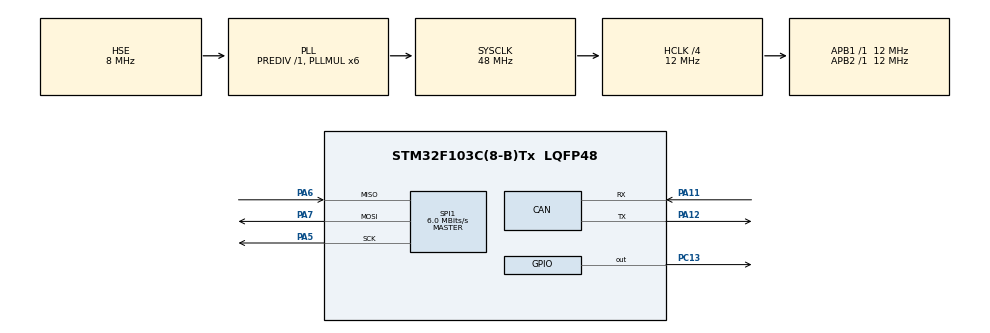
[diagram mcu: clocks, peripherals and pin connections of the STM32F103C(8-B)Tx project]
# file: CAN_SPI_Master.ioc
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CAN.CalculateTimeBit=4000
CAN.CalculateTimeQuantum=1333.3333333333333
Mcu.Family=STM32F1
Mcu.Name=STM32F103C(8-B)Tx
Mcu.Package=LQFP48
NVIC.PriorityGroup=NVIC_PRIORITYGROUP_4
PA11.Mode=Master
PA11.Signal=CAN_RX
PA12.Mode=Master
PA12.Signal=CAN_TX
PA5.Mode=Full_Duplex_Master
PA5.Signal=SPI1_SCK
PA6.Mode=Full_Duplex_Master
PA6.Signal=SPI1_MISO
PA7.Mode=Full_Duplex_Master
PA7.Signal=SPI1_MOSI
PC13-TAMPER-RTC.Signal=GPIO_Output
PD0-OSC_IN.Mode=HSE-External-Oscillator
PD0-OSC_IN.Signal=RCC_OSC_IN
PD1-OSC_OUT.Mode=HSE-External-Oscillator
PD1-OSC_OUT.Signal=RCC_OSC_OUT
ProjectManager.HeapSize=0x200
ProjectManager.StackSize=0x400
ProjectManager.TargetToolchain=SW4STM32
RCC.AHBCLKDivider=RCC_SYSCLK_DIV4
RCC.AHBFreq_Value=12000000
RCC.APB1Freq_Value=12000000
RCC.APB1TimFreq_Value=12000000
RCC.APB2Freq_Value=12000000
RCC.APB2TimFreq_Value=12000000
RCC.HCLKFreq_Value=12000000
RCC.PLLMUL=RCC_PLL_MUL6
RCC.PLLSourceVirtual=RCC_PLLSOURCE_HSE
RCC.SYSCLKFreq_VALUE=48000000
RCC.SYSCLKSource=RCC_SYSCLKSOURCE_PLLCLK
RCC.USBFreq_Value=48000000
SPI1.BaudRatePrescaler=SPI_BAUDRATEPRESCALER_2
SPI1.CalculateBaudRate=6.0 MBits/s
SPI1.Direction=SPI_DIRECTION_2LINES
SPI1.Mode=SPI_MODE_MASTER
SPI1.VirtualType=VM_MASTER
VP_SYS_VS_ND.Mode=No_Debug
board=CAN_SPI_Master

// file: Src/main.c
/**
  ******************************************************************************
  * @file           : main.c
  * @brief          : Main program body
  ******************************************************************************
  ** This notice applies to any and all portions of this file
  * that are not between comment pairs USER CODE BEGIN and
  * USER CODE END. Other portions of this file, whether
  * inserted by the user or by software development tools
  * are owned by their respective copyright owners.
  *
  * COPYRIGHT(c) 2018 STMicroelectronics
  *
  * Redistribution and use in source and binary forms, with or without modification,
  * are permitted provided that the following conditions are met:
  *   1. Redistributions of source code must retain the above copyright notice,
  *      this list of conditions and the following disclaimer.
  *   2. Redistributions in binary form must reproduce the above copyright notice,
  *      this list of conditions and the following disclaimer in the documentation
  *      and/or other materials provided with the distribution.
  *   3. Neither the name of STMicroelectronics nor the names of its contributors
  *      may be used to endorse or promote products derived from this software
  *      without specific prior written permission.
  *
  * THIS SOFTWARE IS PROVIDED BY THE COPYRIGHT HOLDERS AND CONTRIBUTORS "AS IS"
  * AND ANY EXPRESS OR IMPLIED WARRANTIES, INCLUDING, BUT NOT LIMITED TO, THE
  * IMPLIED WARRANTIES OF MERCHANTABILITY AND FITNESS FOR A PARTICULAR PURPOSE ARE
  * DISCLAIMED. IN NO EVENT SHALL THE COPYRIGHT HOLDER OR CONTRIBUTORS BE LIABLE
  * FOR ANY DIRECT, INDIRECT, INCIDENTAL, SPECIAL, EXEMPLARY, OR CONSEQUENTIAL
  * DAMAGES (INCLUDING, BUT NOT LIMITED TO, PROCUREMENT OF SUBSTITUTE GOODS OR
  * SERVICES; LOSS OF USE, DATA, OR PROFITS; OR BUSINESS INTERRUPTION) HOWEVER
  * CAUSED AND ON ANY THEORY OF LIABILITY, WHETHER IN CONTRACT, STRICT LIABILITY,
  * OR TORT (INCLUDING NEGLIGENCE OR OTHERWISE) ARISING IN ANY WAY OUT OF THE USE
  * OF THIS SOFTWARE, EVEN IF ADVISED OF THE POSSIBILITY OF SUCH DAMAGE.
  *
  ******************************************************************************
  */
#include "main.h"
#include "stm32f1xx_hal.h"

CAN_HandleTypeDef hcan;

SPI_HandleTypeDef hspi1;

/* USER CODE BEGIN PV */
/* Private variables ---------------------------------------------------------*/
uint8_t can_rx_data[200];
uint8_t can_tx_data[200];
uint8_t can_to_spi_buffer[30]={8,7,6,5,4,3,2,1};
uint8_t temp_buf[30];

uint8_t can_rx_data[200];
uint8_t can_tx_data[200];
static CanTxMsgTypeDef canTxMessage;
static CanRxMsgTypeDef canRxMessage;
uint16_t CAN_ID;
uint8_t CAN_DLC;
uint8_t DATA[8];
/* USER CODE END PV */

void SystemClock_Config(void);
static void MX_GPIO_Init(void);
static void MX_CAN_Init(void);
static void MX_SPI1_Init(void);

/* USER CODE BEGIN PFP */
/* Private function prototypes -----------------------------------------------*/

/* USER CODE END PFP */

int main(void)
{

  /* MCU Configuration----------------------------------------------------------*/

  /* Reset of all peripherals, Initializes the Flash interface and the Systick. */
  HAL_Init();

  /* Configure the system clock */
  SystemClock_Config();

  /* Initialize all configured peripherals */
  MX_GPIO_Init();
  MX_CAN_Init();
  MX_SPI1_Init();

  /* Infinite loop */
  /* USER CODE BEGIN WHILE */

  CanRxMsgTypeDef temp_can;

  temp_can.StdId = 0xFF;

  hcan.pTxMsg = &canTxMessage;
  hcan.pRxMsg = &canRxMessage;

	CAN_FilterConfTypeDef canFilterConfig;
	canFilterConfig.FilterNumber = 0;
	canFilterConfig.FilterMode = CAN_FILTERMODE_IDLIST;
	canFilterConfig.FilterScale = CAN_FILTERSCALE_16BIT;
	canFilterConfig.FilterIdHigh = 0x53A<<5;
	canFilterConfig.FilterIdLow = 0x54C<<5;
	canFilterConfig.FilterMaskIdHigh = 0x53D<<5;
	canFilterConfig.FilterMaskIdLow = 0x54F<<5;
	canFilterConfig.FilterFIFOAssignment = 0;
	canFilterConfig.FilterActivation = ENABLE;
	canFilterConfig.BankNumber = 1;
	HAL_CAN_ConfigFilter(&hcan, &canFilterConfig);

	canFilterConfig.FilterNumber = 1;
	canFilterConfig.FilterIdHigh = 0xA<<5;
	canFilterConfig.FilterIdLow = 0x33<<5;
	canFilterConfig.FilterMaskIdHigh = 0xA<<5;
	canFilterConfig.FilterMaskIdLow = 0x33<<5;
	HAL_CAN_ConfigFilter(&hcan, &canFilterConfig);

	HAL_CAN_Receive_IT(&hcan, CAN_FIFO0) ;

  while (1)
  {
  /* USER CODE END WHILE */

  /* USER CODE BEGIN 3 */

	  HAL_Delay(100);

	  HAL_GPIO_TogglePin(GPIOC, GPIO_PIN_13);
//	  HAL_SPI_Transmit(&hspi1,can_to_spi_buffer,8,100);

//	  HAL_Delay(1);

//	  can_to_spi_buffer[0] = 11/*(temp_can.StdId)>>8*/;
//	  can_to_spi_buffer[1] = 11/*(temp_can.StdId)*/;

	  HAL_SPI_TransmitReceive(&hspi1,/*(uint8_t*)*/can_to_spi_buffer,temp_buf,8,1000);

  }
  /* USER CODE END 3 */

}

void SystemClock_Config(void)
{

  RCC_OscInitTypeDef RCC_OscInitStruct;
  RCC_ClkInitTypeDef RCC_ClkInitStruct;

    /**Initializes the CPU, AHB and APB busses clocks
    */
  RCC_OscInitStruct.OscillatorType = RCC_OSCILLATORTYPE_HSE;
  RCC_OscInitStruct.HSEState = RCC_HSE_ON;
  RCC_OscInitStruct.HSEPredivValue = RCC_HSE_PREDIV_DIV1;
  RCC_OscInitStruct.HSIState = RCC_HSI_ON;
  RCC_OscInitStruct.PLL.PLLState = RCC_PLL_ON;
  RCC_OscInitStruct.PLL.PLLSource = RCC_PLLSOURCE_HSE;
  RCC_OscInitStruct.PLL.PLLMUL = RCC_PLL_MUL6;
  if (HAL_RCC_OscConfig(&RCC_OscInitStruct) != HAL_OK)
  {
    _Error_Handler(__FILE__, __LINE__);
  }

    /**Initializes the CPU, AHB and APB busses clocks
    */
  RCC_ClkInitStruct.ClockType = RCC_CLOCKTYPE_HCLK|RCC_CLOCKTYPE_SYSCLK
                              |RCC_CLOCKTYPE_PCLK1|RCC_CLOCKTYPE_PCLK2;
  RCC_ClkInitStruct.SYSCLKSource = RCC_SYSCLKSOURCE_PLLCLK;
  RCC_ClkInitStruct.AHBCLKDivider = RCC_SYSCLK_DIV4;
  RCC_ClkInitStruct.APB1CLKDivider = RCC_HCLK_DIV1;
  RCC_ClkInitStruct.APB2CLKDivider = RCC_HCLK_DIV1;

  if (HAL_RCC_ClockConfig(&RCC_ClkInitStruct, FLASH_LATENCY_1) != HAL_OK)
  {
    _Error_Handler(__FILE__, __LINE__);
  }

    /**Configure the Systick interrupt time
    */
  HAL_SYSTICK_Config(HAL_RCC_GetHCLKFreq()/1000);

    /**Configure the Systick
    */
  HAL_SYSTICK_CLKSourceConfig(SYSTICK_CLKSOURCE_HCLK);

  /* SysTick_IRQn interrupt configuration */
  HAL_NVIC_SetPriority(SysTick_IRQn, 0, 0);
}

/* CAN init function */
static void MX_CAN_Init(void)
{

  hcan.Instance = CAN1;
  hcan.Init.Prescaler = 16;
  hcan.Init.Mode = CAN_MODE_NORMAL;
  hcan.Init.SJW = CAN_SJW_1TQ;
  hcan.Init.BS1 = CAN_BS1_1TQ;
  hcan.Init.BS2 = CAN_BS2_1TQ;
  hcan.Init.TTCM = DISABLE;
  hcan.Init.ABOM = DISABLE;
  hcan.Init.AWUM = DISABLE;
  hcan.Init.NART = DISABLE;
  hcan.Init.RFLM = DISABLE;
  hcan.Init.TXFP = DISABLE;
  if (HAL_CAN_Init(&hcan) != HAL_OK)
  {
    _Error_Handler(__FILE__, __LINE__);
  }

}

/* SPI1 init function */
static void MX_SPI1_Init(void)
{

  /* SPI1 parameter configuration*/
  hspi1.Instance = SPI1;
  hspi1.Init.Mode = SPI_MODE_MASTER;
  hspi1.Init.Direction = SPI_DIRECTION_2LINES;
  hspi1.Init.DataSize = SPI_DATASIZE_8BIT;
  hspi1.Init.CLKPolarity = SPI_POLARITY_LOW;
  hspi1.Init.CLKPhase = SPI_PHASE_1EDGE;
  hspi1.Init.NSS = SPI_NSS_SOFT;
  hspi1.Init.BaudRatePrescaler = SPI_BAUDRATEPRESCALER_2;
  hspi1.Init.FirstBit = SPI_FIRSTBIT_MSB;
  hspi1.Init.TIMode = SPI_TIMODE_DISABLE;
  hspi1.Init.CRCCalculation = SPI_CRCCALCULATION_DISABLE;
  hspi1.Init.CRCPolynomial = 10;
  if (HAL_SPI_Init(&hspi1) != HAL_OK)
  {
    _Error_Handler(__FILE__, __LINE__);
  }

}

/** Configure pins as
        * Analog
        * Input
        * Output
        * EVENT_OUT
        * EXTI
*/
static void MX_GPIO_Init(void)
{

  GPIO_InitTypeDef GPIO_InitStruct;

  /* GPIO Ports Clock Enable */
  __HAL_RCC_GPIOC_CLK_ENABLE();
  __HAL_RCC_GPIOD_CLK_ENABLE();
  __HAL_RCC_GPIOA_CLK_ENABLE();

  /*Configure GPIO pin Output Level */
  HAL_GPIO_WritePin(GPIOC, GPIO_PIN_13, GPIO_PIN_RESET);

  /*Configure GPIO pin : PC13 */
  GPIO_InitStruct.Pin = GPIO_PIN_13;
  GPIO_InitStruct.Mode = GPIO_MODE_OUTPUT_PP;
  GPIO_InitStruct.Speed = GPIO_SPEED_FREQ_LOW;
  HAL_GPIO_Init(GPIOC, &GPIO_InitStruct);

}

/* USER CODE BEGIN 4 */
void HAL_CAN_RxCpltCallback(CAN_HandleTypeDef *hcan)
{
	uint32_t num_bytes = 0;
	uint8_t buf[200];

	if (hcan->pRxMsg->StdId == 1)
	{
		//HAL_GPIO_WritePin(GPIOC,GPIO_PIN_13,GPIO_PIN_RESET);
	}

	buf[0] = (hcan->pRxMsg->StdId)>>8;
	buf[1] = (hcan->pRxMsg->StdId);
	buf[2] = (hcan->pRxMsg->DLC);
	buf[3] = (hcan->pRxMsg->Data[0]);
	buf[4] = (hcan->pRxMsg->Data[1]);
	buf[5] = (hcan->pRxMsg->Data[2]);
	buf[6] = (hcan->pRxMsg->Data[3]);
	buf[7] = (hcan->pRxMsg->Data[4]);
	buf[8] = (hcan->pRxMsg->Data[5]);
	buf[9] = (hcan->pRxMsg->Data[6]);
	buf[10] = (hcan->pRxMsg->Data[7]);

//	HAL_SPI_Transmit(&hspi1,(uint8_t*)buf,11,1000);
	HAL_GPIO_TogglePin(GPIOC, GPIO_PIN_13);
	HAL_SPI_TransmitReceive(&hspi1,/*(uint8_t*)*/buf,temp_buf,11,1000);

}

/* USER CODE END 4 */

void _Error_Handler(char *file, int line)
{
  while(1)
  {
  }
}

/************************ (C) COPYRIGHT STMicroelectronics *****END OF FILE****/
